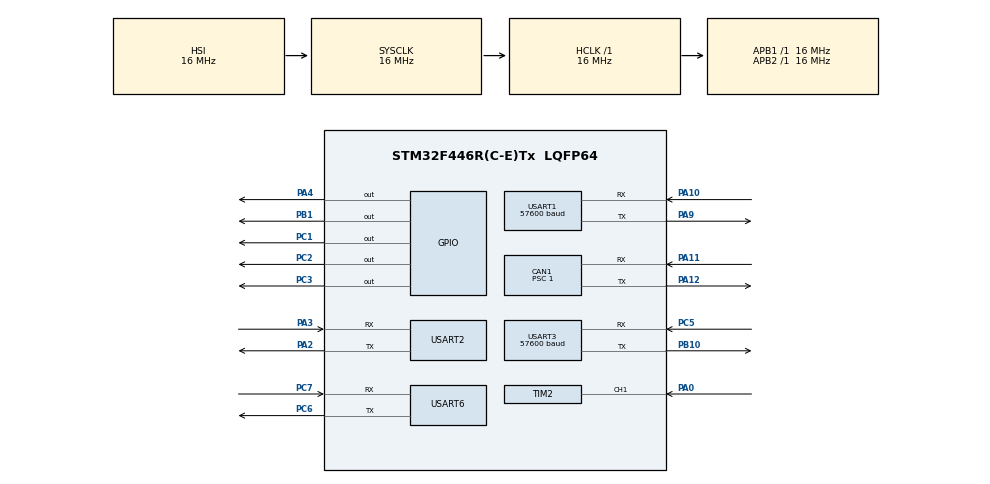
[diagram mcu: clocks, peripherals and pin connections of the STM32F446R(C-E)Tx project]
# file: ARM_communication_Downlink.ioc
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CAN1.BS1=CAN_BS1_13TQ
CAN1.BS2=CAN_BS2_2TQ
CAN1.CalculateBaudRate=1000000
CAN1.CalculateTimeBit=1000
CAN1.CalculateTimeQuantum=62.5
CAN1.Prescaler=1
CAN1.SJW=CAN_SJW_2TQ
Dma.Request0=USART2_RX
Dma.Request1=USART2_TX
Dma.Request2=USART3_RX
Dma.Request3=USART3_TX
Dma.Request4=USART6_RX
Dma.Request5=USART6_TX
Dma.Request6=USART1_RX
Dma.Request7=USART1_TX
Dma.USART1_RX.6.Direction=DMA_PERIPH_TO_MEMORY
Dma.USART1_RX.6.FIFOMode=DMA_FIFOMODE_DISABLE
Dma.USART1_RX.6.Instance=DMA2_Stream2
Dma.USART1_RX.6.MemDataAlignment=DMA_MDATAALIGN_BYTE
Dma.USART1_RX.6.MemInc=DMA_MINC_ENABLE
Dma.USART1_RX.6.Mode=DMA_CIRCULAR
Dma.USART1_RX.6.PeriphDataAlignment=DMA_PDATAALIGN_BYTE
Dma.USART1_RX.6.PeriphInc=DMA_PINC_DISABLE
Dma.USART1_RX.6.Priority=DMA_PRIORITY_VERY_HIGH
Dma.USART1_TX.7.Direction=DMA_MEMORY_TO_PERIPH
Dma.USART1_TX.7.FIFOMode=DMA_FIFOMODE_DISABLE
Dma.USART1_TX.7.Instance=DMA2_Stream7
Dma.USART1_TX.7.MemDataAlignment=DMA_MDATAALIGN_BYTE
Dma.USART1_TX.7.MemInc=DMA_MINC_ENABLE
Dma.USART1_TX.7.Mode=DMA_NORMAL
Dma.USART1_TX.7.PeriphDataAlignment=DMA_PDATAALIGN_BYTE
Dma.USART1_TX.7.PeriphInc=DMA_PINC_DISABLE
Dma.USART1_TX.7.Priority=DMA_PRIORITY_MEDIUM
Dma.USART2_RX.0.Direction=DMA_PERIPH_TO_MEMORY
Dma.USART2_RX.0.FIFOMode=DMA_FIFOMODE_DISABLE
Dma.USART2_RX.0.Instance=DMA1_Stream5
Dma.USART2_RX.0.MemDataAlignment=DMA_MDATAALIGN_BYTE
Dma.USART2_RX.0.MemInc=DMA_MINC_ENABLE
Dma.USART2_RX.0.Mode=DMA_CIRCULAR
Dma.USART2_RX.0.PeriphDataAlignment=DMA_PDATAALIGN_BYTE
Dma.USART2_RX.0.PeriphInc=DMA_PINC_DISABLE
Dma.USART2_RX.0.Priority=DMA_PRIORITY_LOW
Dma.USART2_TX.1.Direction=DMA_MEMORY_TO_PERIPH
Dma.USART2_TX.1.FIFOMode=DMA_FIFOMODE_DISABLE
Dma.USART2_TX.1.Instance=DMA1_Stream6
Dma.USART2_TX.1.MemDataAlignment=DMA_MDATAALIGN_BYTE
Dma.USART2_TX.1.MemInc=DMA_MINC_ENABLE
Dma.USART2_TX.1.Mode=DMA_NORMAL
Dma.USART2_TX.1.PeriphDataAlignment=DMA_PDATAALIGN_BYTE
Dma.USART2_TX.1.PeriphInc=DMA_PINC_DISABLE
Dma.USART2_TX.1.Priority=DMA_PRIORITY_LOW
Dma.USART3_RX.2.Direction=DMA_PERIPH_TO_MEMORY
Dma.USART3_RX.2.FIFOMode=DMA_FIFOMODE_DISABLE
Dma.USART3_RX.2.Instance=DMA1_Stream1
Dma.USART3_RX.2.MemDataAlignment=DMA_MDATAALIGN_BYTE
Dma.USART3_RX.2.MemInc=DMA_MINC_ENABLE
Dma.USART3_RX.2.Mode=DMA_NORMAL
Dma.USART3_RX.2.PeriphDataAlignment=DMA_PDATAALIGN_BYTE
Dma.USART3_RX.2.PeriphInc=DMA_PINC_DISABLE
Dma.USART3_RX.2.Priority=DMA_PRIORITY_LOW
Dma.USART3_TX.3.Direction=DMA_MEMORY_TO_PERIPH
Dma.USART3_TX.3.FIFOMode=DMA_FIFOMODE_DISABLE
Dma.USART3_TX.3.Instance=DMA1_Stream3
Dma.USART3_TX.3.MemDataAlignment=DMA_MDATAALIGN_BYTE
Dma.USART3_TX.3.MemInc=DMA_MINC_ENABLE
Dma.USART3_TX.3.Mode=DMA_NORMAL
Dma.USART3_TX.3.PeriphDataAlignment=DMA_PDATAALIGN_BYTE
Dma.USART3_TX.3.PeriphInc=DMA_PINC_DISABLE
Dma.USART3_TX.3.Priority=DMA_PRIORITY_LOW
Dma.USART6_RX.4.Direction=DMA_PERIPH_TO_MEMORY
Dma.USART6_RX.4.FIFOMode=DMA_FIFOMODE_DISABLE
Dma.USART6_RX.4.Instance=DMA2_Stream1
Dma.USART6_RX.4.MemDataAlignment=DMA_MDATAALIGN_BYTE
Dma.USART6_RX.4.MemInc=DMA_MINC_ENABLE
Dma.USART6_RX.4.Mode=DMA_CIRCULAR
Dma.USART6_RX.4.PeriphDataAlignment=DMA_PDATAALIGN_BYTE
Dma.USART6_RX.4.PeriphInc=DMA_PINC_DISABLE
Dma.USART6_RX.4.Priority=DMA_PRIORITY_VERY_HIGH
Dma.USART6_TX.5.Direction=DMA_MEMORY_TO_PERIPH
Dma.USART6_TX.5.FIFOMode=DMA_FIFOMODE_DISABLE
Dma.USART6_TX.5.Instance=DMA2_Stream6
Dma.USART6_TX.5.MemDataAlignment=DMA_MDATAALIGN_BYTE
Dma.USART6_TX.5.MemInc=DMA_MINC_ENABLE
Dma.USART6_TX.5.Mode=DMA_NORMAL
Dma.USART6_TX.5.PeriphDataAlignment=DMA_PDATAALIGN_BYTE
Dma.USART6_TX.5.PeriphInc=DMA_PINC_DISABLE
Dma.USART6_TX.5.Priority=DMA_PRIORITY_MEDIUM
Mcu.Family=STM32F4
Mcu.Name=STM32F446R(C-E)Tx
Mcu.Package=LQFP64
NVIC.CAN1_RX0_IRQn=true\:0\:0\:false\:false\:true\:true\:true\:true
NVIC.CAN1_RX1_IRQn=true\:0\:0\:false\:false\:true\:true\:true\:true
NVIC.CAN1_SCE_IRQn=true\:0\:0\:false\:false\:true\:true\:true\:true
NVIC.CAN1_TX_IRQn=true\:0\:0\:false\:false\:true\:true\:true\:true
NVIC.DMA1_Stream1_IRQn=true\:0\:0\:true\:false\:true\:false\:true\:true
NVIC.DMA1_Stream3_IRQn=true\:0\:0\:false\:false\:true\:false\:true\:true
NVIC.DMA1_Stream5_IRQn=true\:0\:0\:false\:false\:true\:false\:true\:true
NVIC.DMA1_Stream6_IRQn=true\:0\:0\:false\:false\:true\:false\:true\:true
NVIC.DMA2_Stream1_IRQn=true\:0\:0\:false\:false\:true\:false\:true\:true
NVIC.DMA2_Stream2_IRQn=true\:0\:0\:false\:false\:true\:false\:true\:true
NVIC.DMA2_Stream6_IRQn=true\:0\:0\:false\:false\:true\:false\:true\:true
NVIC.DMA2_Stream7_IRQn=true\:0\:0\:false\:false\:true\:false\:true\:true
NVIC.PriorityGroup=NVIC_PRIORITYGROUP_4
NVIC.USART1_IRQn=true\:0\:0\:false\:false\:true\:false\:true\:true
NVIC.USART2_IRQn=true\:0\:0\:false\:false\:true\:true\:true\:true
NVIC.USART3_IRQn=true\:0\:0\:false\:false\:true\:true\:true\:true
NVIC.USART6_IRQn=true\:0\:0\:false\:false\:true\:false\:true\:true
PA0-WKUP.Signal=S_TIM2_CH1_ETR
PA10.Mode=Asynchronous
PA10.Signal=USART1_RX
PA11.Mode=CAN_Activate
PA11.Signal=CAN1_RX
PA12.Mode=CAN_Activate
PA12.Signal=CAN1_TX
PA13.Mode=Trace_Asynchronous_SW
PA13.Signal=SYS_JTMS-SWDIO
PA14.Mode=Trace_Asynchronous_SW
PA14.Signal=SYS_JTCK-SWCLK
PA2.Mode=Asynchronous
PA2.Signal=USART2_TX
PA3.Mode=Asynchronous
PA3.Signal=USART2_RX
PA4.Signal=GPIO_Output
PA5.Signal=SPI1_SCK
PA7.Signal=SPI1_MOSI
PA9.Mode=Asynchronous
PA9.Signal=USART1_TX
PB1.Signal=GPIO_Output
PB10.Mode=Asynchronous
PB10.Signal=USART3_TX
PB3.Mode=Trace_Asynchronous_SW
PB3.Signal=SYS_JTDO-SWO
PC1.Signal=GPIO_Output
PC2.Signal=GPIO_Output
PC3.Signal=GPIO_Output
PC5.Mode=Asynchronous
PC5.Signal=USART3_RX
PC6.Mode=Asynchronous
PC6.Signal=USART6_TX
PC7.Mode=Asynchronous
PC7.Signal=USART6_RX
PH0-OSC_IN.Mode=HSE-External-Clock-Source
PH0-OSC_IN.Signal=RCC_OSC_IN
PH1-OSC_OUT.Mode=HSE-External-Clock-Source
PH1-OSC_OUT.Signal=RCC_OSC_OUT
ProjectManager.HeapSize=0x200
ProjectManager.StackSize=0x400
ProjectManager.TargetToolchain=STM32CubeIDE
RCC.AHBFreq_Value=16000000
RCC.APB1Freq_Value=16000000
RCC.APB1TimFreq_Value=16000000
RCC.APB2Freq_Value=16000000
RCC.APB2TimFreq_Value=16000000
RCC.CortexFreq_Value=16000000
RCC.HCLKFreq_Value=16000000
RCC.HSE_VALUE=8000000
RCC.PLLM=4
RCC.PLLN=120
RCC.SYSCLKFreq_VALUE=16000000
RCC.USBFreq_Value=240000000
RCC.VCOOutputFreq_Value=480000000
SH.S_TIM2_CH1_ETR.0=TIM2_CH1,PWM_Input_1
TIM2.Period=1000000
TIM2.Prescaler=0
USART1.BaudRate=57600
USART1.VirtualMode=VM_ASYNC
USART2.VirtualMode=VM_ASYNC
USART3.BaudRate=57600
USART3.VirtualMode=VM_ASYNC
USART6.VirtualMode=VM_ASYNC
board=custom

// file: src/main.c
/* USER CODE BEGIN Header */
/**
  ******************************************************************************
  * @file           : main.c
  * @brief          : Main program body
  ******************************************************************************
  * @attention
  *
  * Copyright (c) 2025 STMicroelectronics.
  * All rights reserved.
  *
  * This software is licensed under terms that can be found in the LICENSE file
  * in the root directory of this software component.
  * If no LICENSE file comes with this software, it is provided AS-IS.
  *
  ******************************************************************************
  */
/* USER CODE END Header */
#include "main.h"

/* USER CODE BEGIN Includes */
#include "stdbool.h"
#include "string.h"
#include "stdio.h"
/* USER CODE END Includes */

/* USER CODE BEGIN PD */
#define ROVER_RX_UART huart2
#define ROVER_TX_UART huart3
#define ROVER_FORWARD_BUFFER_SIZE 128
/* USER CODE END PD */

CAN_HandleTypeDef hcan1;

TIM_HandleTypeDef htim2;

UART_HandleTypeDef huart1;
UART_HandleTypeDef huart2;
UART_HandleTypeDef huart3;
UART_HandleTypeDef huart6;
DMA_HandleTypeDef hdma_usart1_rx;
DMA_HandleTypeDef hdma_usart1_tx;
DMA_HandleTypeDef hdma_usart2_rx;
DMA_HandleTypeDef hdma_usart2_tx;
DMA_HandleTypeDef hdma_usart3_rx;
DMA_HandleTypeDef hdma_usart3_tx;
DMA_HandleTypeDef hdma_usart6_rx;
DMA_HandleTypeDef hdma_usart6_tx;

/* USER CODE BEGIN PV */
uint8_t rover_rx_byte;
uint8_t rover_forward_buf[ROVER_FORWARD_BUFFER_SIZE];
volatile uint16_t rover_forward_head = 0;
volatile uint16_t rover_forward_tail = 0;
volatile bool rover_forward_overflow = false;
/* USER CODE END PV */

void SystemClock_Config(void);
static void MX_GPIO_Init(void);
static void MX_DMA_Init(void);
static void MX_CAN1_Init(void);
static void MX_TIM2_Init(void);
static void MX_USART2_UART_Init(void);
static void MX_USART3_UART_Init(void);
static void MX_USART6_UART_Init(void);
static void MX_USART1_UART_Init(void);
/* USER CODE BEGIN PFP */
static void ForwardRoverByte(uint8_t byte);
static void QueueRoverByte(uint8_t byte);
static void ProcessPendingForward(void);

/* USER CODE END PFP */

/* USER CODE BEGIN 0 */
static void ForwardRoverByte(uint8_t byte)
{
  HAL_UART_Transmit(&ROVER_TX_UART, &byte, 1U, HAL_MAX_DELAY);
}

static void QueueRoverByte(uint8_t byte)
{
  uint16_t next_head = (uint16_t)((rover_forward_head + 1U) % ROVER_FORWARD_BUFFER_SIZE);

  if (next_head == rover_forward_tail) {
    rover_forward_overflow = true;
    return;
  }

  rover_forward_buf[rover_forward_head] = byte;
  rover_forward_head = next_head;
}

static void ProcessPendingForward(void)
{
  uint8_t byte;

  if (rover_forward_overflow) {
    __disable_irq();
    rover_forward_overflow = false;
    __enable_irq();
    printf("ROVER FORWARD OVERFLOW\r\n");
  }

  while (rover_forward_tail != rover_forward_head) {
    __disable_irq();
    if (rover_forward_tail == rover_forward_head) {
      __enable_irq();
      break;
    }
    byte = rover_forward_buf[rover_forward_tail];
    rover_forward_tail = (uint16_t)((rover_forward_tail + 1U) % ROVER_FORWARD_BUFFER_SIZE);
    __enable_irq();

    ForwardRoverByte(byte);
  }
}

/* USER CODE END 0 */

int main(void)
{

  /* MCU Configuration--------------------------------------------------------*/

  /* Reset of all peripherals, Initializes the Flash interface and the Systick. */
  HAL_Init();

  /* Configure the system clock */
  SystemClock_Config();

  /* Initialize all configured peripherals */
  MX_GPIO_Init();
  MX_DMA_Init();
  MX_CAN1_Init();
  MX_TIM2_Init();
  MX_USART2_UART_Init();
  MX_USART3_UART_Init();
  MX_USART6_UART_Init();
  MX_USART1_UART_Init();
  /* USER CODE BEGIN 2 */
  HAL_UART_Receive_IT(&ROVER_RX_UART, &rover_rx_byte, 1);
  printf("System initialized.\r\n");
  /* USER CODE END 2 */

  /* Infinite loop */
  while (1)
  {

    /* USER CODE BEGIN 3 */
    ProcessPendingForward();
  }
  /* USER CODE END 3 */
}

void SystemClock_Config(void)
{
  RCC_OscInitTypeDef RCC_OscInitStruct = {0};
  RCC_ClkInitTypeDef RCC_ClkInitStruct = {0};

  /** Configure the main internal regulator output voltage
  */
  __HAL_RCC_PWR_CLK_ENABLE();
  __HAL_PWR_VOLTAGESCALING_CONFIG(PWR_REGULATOR_VOLTAGE_SCALE3);

  /** Initializes the RCC Oscillators according to the specified parameters
  * in the RCC_OscInitTypeDef structure.
  */
  RCC_OscInitStruct.OscillatorType = RCC_OSCILLATORTYPE_HSI;
  RCC_OscInitStruct.HSIState = RCC_HSI_ON;
  RCC_OscInitStruct.HSICalibrationValue = RCC_HSICALIBRATION_DEFAULT;
  RCC_OscInitStruct.PLL.PLLState = RCC_PLL_NONE;
  if (HAL_RCC_OscConfig(&RCC_OscInitStruct) != HAL_OK)
  {
    Error_Handler();
  }

  /** Initializes the CPU, AHB and APB buses clocks
  */
  RCC_ClkInitStruct.ClockType = RCC_CLOCKTYPE_HCLK|RCC_CLOCKTYPE_SYSCLK
                              |RCC_CLOCKTYPE_PCLK1|RCC_CLOCKTYPE_PCLK2;
  RCC_ClkInitStruct.SYSCLKSource = RCC_SYSCLKSOURCE_HSI;
  RCC_ClkInitStruct.AHBCLKDivider = RCC_SYSCLK_DIV1;
  RCC_ClkInitStruct.APB1CLKDivider = RCC_HCLK_DIV1;
  RCC_ClkInitStruct.APB2CLKDivider = RCC_HCLK_DIV1;

  if (HAL_RCC_ClockConfig(&RCC_ClkInitStruct, FLASH_LATENCY_0) != HAL_OK)
  {
    Error_Handler();
  }
}

static void MX_CAN1_Init(void)
{

  hcan1.Instance = CAN1;
  hcan1.Init.Prescaler = 1;
  hcan1.Init.Mode = CAN_MODE_NORMAL;
  hcan1.Init.SyncJumpWidth = CAN_SJW_2TQ;
  hcan1.Init.TimeSeg1 = CAN_BS1_13TQ;
  hcan1.Init.TimeSeg2 = CAN_BS2_2TQ;
  hcan1.Init.TimeTriggeredMode = DISABLE;
  hcan1.Init.AutoBusOff = DISABLE;
  hcan1.Init.AutoWakeUp = DISABLE;
  hcan1.Init.AutoRetransmission = DISABLE;
  hcan1.Init.ReceiveFifoLocked = DISABLE;
  hcan1.Init.TransmitFifoPriority = DISABLE;
  if (HAL_CAN_Init(&hcan1) != HAL_OK)
  {
    Error_Handler();
  }

}

static void MX_TIM2_Init(void)
{

  TIM_SlaveConfigTypeDef sSlaveConfig = {0};
  TIM_IC_InitTypeDef sConfigIC = {0};
  TIM_MasterConfigTypeDef sMasterConfig = {0};

  htim2.Instance = TIM2;
  htim2.Init.Prescaler = 0;
  htim2.Init.CounterMode = TIM_COUNTERMODE_UP;
  htim2.Init.Period = 1000000;
  htim2.Init.ClockDivision = TIM_CLOCKDIVISION_DIV1;
  htim2.Init.AutoReloadPreload = TIM_AUTORELOAD_PRELOAD_DISABLE;
  if (HAL_TIM_IC_Init(&htim2) != HAL_OK)
  {
    Error_Handler();
  }
  sSlaveConfig.SlaveMode = TIM_SLAVEMODE_RESET;
  sSlaveConfig.InputTrigger = TIM_TS_TI1FP1;
  sSlaveConfig.TriggerPolarity = TIM_INPUTCHANNELPOLARITY_RISING;
  sSlaveConfig.TriggerPrescaler = TIM_ICPSC_DIV1;
  sSlaveConfig.TriggerFilter = 0;
  if (HAL_TIM_SlaveConfigSynchro(&htim2, &sSlaveConfig) != HAL_OK)
  {
    Error_Handler();
  }
  sConfigIC.ICPolarity = TIM_INPUTCHANNELPOLARITY_RISING;
  sConfigIC.ICSelection = TIM_ICSELECTION_DIRECTTI;
  sConfigIC.ICPrescaler = TIM_ICPSC_DIV1;
  sConfigIC.ICFilter = 0;
  if (HAL_TIM_IC_ConfigChannel(&htim2, &sConfigIC, TIM_CHANNEL_1) != HAL_OK)
  {
    Error_Handler();
  }
  sConfigIC.ICPolarity = TIM_INPUTCHANNELPOLARITY_FALLING;
  sConfigIC.ICSelection = TIM_ICSELECTION_INDIRECTTI;
  if (HAL_TIM_IC_ConfigChannel(&htim2, &sConfigIC, TIM_CHANNEL_2) != HAL_OK)
  {
    Error_Handler();
  }
  sMasterConfig.MasterOutputTrigger = TIM_TRGO_RESET;
  sMasterConfig.MasterSlaveMode = TIM_MASTERSLAVEMODE_DISABLE;
  if (HAL_TIMEx_MasterConfigSynchronization(&htim2, &sMasterConfig) != HAL_OK)
  {
    Error_Handler();
  }

}

static void MX_USART1_UART_Init(void)
{

  huart1.Instance = USART1;
  huart1.Init.BaudRate = 57600;
  huart1.Init.WordLength = UART_WORDLENGTH_8B;
  huart1.Init.StopBits = UART_STOPBITS_1;
  huart1.Init.Parity = UART_PARITY_NONE;
  huart1.Init.Mode = UART_MODE_TX_RX;
  huart1.Init.HwFlowCtl = UART_HWCONTROL_NONE;
  huart1.Init.OverSampling = UART_OVERSAMPLING_16;
  if (HAL_UART_Init(&huart1) != HAL_OK)
  {
    Error_Handler();
  }

}

static void MX_USART2_UART_Init(void)
{

  huart2.Instance = USART2;
  huart2.Init.BaudRate = 115200;
  huart2.Init.WordLength = UART_WORDLENGTH_8B;
  huart2.Init.StopBits = UART_STOPBITS_1;
  huart2.Init.Parity = UART_PARITY_NONE;
  huart2.Init.Mode = UART_MODE_TX_RX;
  huart2.Init.HwFlowCtl = UART_HWCONTROL_NONE;
  huart2.Init.OverSampling = UART_OVERSAMPLING_16;
  if (HAL_UART_Init(&huart2) != HAL_OK)
  {
    Error_Handler();
  }

}

static void MX_USART3_UART_Init(void)
{

  huart3.Instance = USART3;
  // huart3.Init.BaudRate = 57600;
  huart3.Init.BaudRate = 115200;
  huart3.Init.WordLength = UART_WORDLENGTH_8B;
  huart3.Init.StopBits = UART_STOPBITS_1;
  huart3.Init.Parity = UART_PARITY_NONE;
  huart3.Init.Mode = UART_MODE_TX_RX;
  huart3.Init.HwFlowCtl = UART_HWCONTROL_NONE;
  huart3.Init.OverSampling = UART_OVERSAMPLING_16;
  if (HAL_UART_Init(&huart3) != HAL_OK)
  {
    Error_Handler();
  }

}

static void MX_USART6_UART_Init(void)
{

  huart6.Instance = USART6;
  huart6.Init.BaudRate = 115200;
  huart6.Init.WordLength = UART_WORDLENGTH_8B;
  huart6.Init.StopBits = UART_STOPBITS_1;
  huart6.Init.Parity = UART_PARITY_NONE;
  huart6.Init.Mode = UART_MODE_TX_RX;
  huart6.Init.HwFlowCtl = UART_HWCONTROL_NONE;
  huart6.Init.OverSampling = UART_OVERSAMPLING_16;
  if (HAL_UART_Init(&huart6) != HAL_OK)
  {
    Error_Handler();
  }

}

static void MX_DMA_Init(void)
{

  /* DMA controller clock enable */
  __HAL_RCC_DMA1_CLK_ENABLE();
  __HAL_RCC_DMA2_CLK_ENABLE();

  /* DMA interrupt init */
  /* DMA1_Stream1_IRQn interrupt configuration */
  HAL_NVIC_SetPriority(DMA1_Stream1_IRQn, 0, 0);
  HAL_NVIC_EnableIRQ(DMA1_Stream1_IRQn);
  /* DMA1_Stream3_IRQn interrupt configuration */
  HAL_NVIC_SetPriority(DMA1_Stream3_IRQn, 0, 0);
  HAL_NVIC_EnableIRQ(DMA1_Stream3_IRQn);
  /* DMA1_Stream5_IRQn interrupt configuration */
  HAL_NVIC_SetPriority(DMA1_Stream5_IRQn, 0, 0);
  HAL_NVIC_EnableIRQ(DMA1_Stream5_IRQn);
  /* DMA1_Stream6_IRQn interrupt configuration */
  HAL_NVIC_SetPriority(DMA1_Stream6_IRQn, 0, 0);
  HAL_NVIC_EnableIRQ(DMA1_Stream6_IRQn);
  /* DMA2_Stream1_IRQn interrupt configuration */
  HAL_NVIC_SetPriority(DMA2_Stream1_IRQn, 0, 0);
  HAL_NVIC_EnableIRQ(DMA2_Stream1_IRQn);
  /* DMA2_Stream2_IRQn interrupt configuration */
  HAL_NVIC_SetPriority(DMA2_Stream2_IRQn, 0, 0);
  HAL_NVIC_EnableIRQ(DMA2_Stream2_IRQn);
  /* DMA2_Stream6_IRQn interrupt configuration */
  HAL_NVIC_SetPriority(DMA2_Stream6_IRQn, 0, 0);
  HAL_NVIC_EnableIRQ(DMA2_Stream6_IRQn);
  /* DMA2_Stream7_IRQn interrupt configuration */
  HAL_NVIC_SetPriority(DMA2_Stream7_IRQn, 0, 0);
  HAL_NVIC_EnableIRQ(DMA2_Stream7_IRQn);

}

static void MX_GPIO_Init(void)
{
  GPIO_InitTypeDef GPIO_InitStruct = {0};

  /* GPIO Ports Clock Enable */
  __HAL_RCC_GPIOH_CLK_ENABLE();
  __HAL_RCC_GPIOC_CLK_ENABLE();
  __HAL_RCC_GPIOA_CLK_ENABLE();
  __HAL_RCC_GPIOB_CLK_ENABLE();

  /*Configure GPIO pin Output Level */
  HAL_GPIO_WritePin(GPIOC, GPIO_PIN_1|GPIO_PIN_2|GPIO_PIN_3, GPIO_PIN_RESET);

  /*Configure GPIO pin Output Level */
  HAL_GPIO_WritePin(GPIOA, GPIO_PIN_4, GPIO_PIN_RESET);

  /*Configure GPIO pin Output Level */
  HAL_GPIO_WritePin(GPIOB, GPIO_PIN_1, GPIO_PIN_RESET);

  /*Configure GPIO pins : PC1 PC2 PC3 */
  GPIO_InitStruct.Pin = GPIO_PIN_1|GPIO_PIN_2|GPIO_PIN_3;
  GPIO_InitStruct.Mode = GPIO_MODE_OUTPUT_PP;
  GPIO_InitStruct.Pull = GPIO_NOPULL;
  GPIO_InitStruct.Speed = GPIO_SPEED_FREQ_LOW;
  HAL_GPIO_Init(GPIOC, &GPIO_InitStruct);

  /*Configure GPIO pin : PA4 */
  GPIO_InitStruct.Pin = GPIO_PIN_4;
  GPIO_InitStruct.Mode = GPIO_MODE_OUTPUT_PP;
  GPIO_InitStruct.Pull = GPIO_NOPULL;
  GPIO_InitStruct.Speed = GPIO_SPEED_FREQ_LOW;
  HAL_GPIO_Init(GPIOA, &GPIO_InitStruct);

  /*Configure GPIO pins : PA5 PA7 */
  GPIO_InitStruct.Pin = GPIO_PIN_5|GPIO_PIN_7;
  GPIO_InitStruct.Mode = GPIO_MODE_AF_PP;
  GPIO_InitStruct.Pull = GPIO_NOPULL;
  GPIO_InitStruct.Speed = GPIO_SPEED_FREQ_VERY_HIGH;
  GPIO_InitStruct.Alternate = GPIO_AF5_SPI1;
  HAL_GPIO_Init(GPIOA, &GPIO_InitStruct);

  /*Configure GPIO pin : PB1 */
  GPIO_InitStruct.Pin = GPIO_PIN_1;
  GPIO_InitStruct.Mode = GPIO_MODE_OUTPUT_PP;
  GPIO_InitStruct.Pull = GPIO_NOPULL;
  GPIO_InitStruct.Speed = GPIO_SPEED_FREQ_LOW;
  HAL_GPIO_Init(GPIOB, &GPIO_InitStruct);

}

/* USER CODE BEGIN 4 */
void HAL_UART_RxCpltCallback(UART_HandleTypeDef *huart) {
    if (huart->Instance == ROVER_RX_UART.Instance) {
        QueueRoverByte(rover_rx_byte);
        HAL_UART_Receive_IT(&ROVER_RX_UART, &rover_rx_byte, 1);
    }
}
/* USER CODE END 4 */

void Error_Handler(void)
{
  /* USER CODE BEGIN Error_Handler_Debug */
  printf("Error occurred!\r\n");
  /* User can add his own implementation to report the HAL error return state */
  __disable_irq();
  while (1)
  {
  }
  /* USER CODE END Error_Handler_Debug */
}
